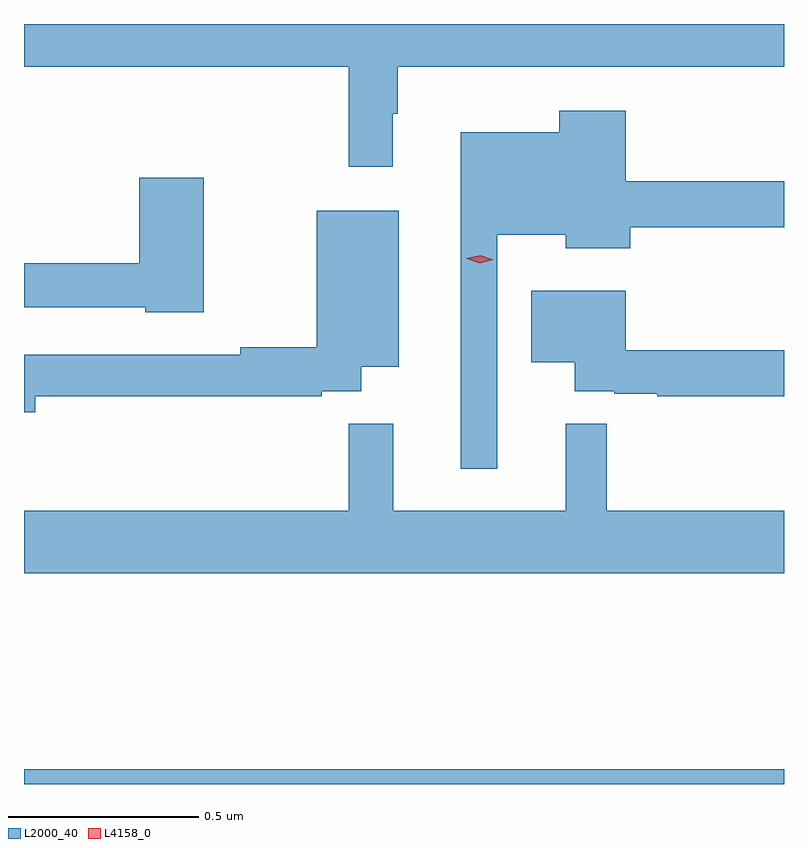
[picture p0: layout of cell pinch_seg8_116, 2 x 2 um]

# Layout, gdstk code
import gdstk
lib = gdstk.Library(unit=1e-6, precision=1e-09)
def R(c, l, rs):  # rectangles x0, y0, x1, y1
    for r in rs: c.add(gdstk.rectangle(r[:2], r[2:], *l))
def P(c, l, *ps):  # polygons
    for p in ps: c.add(gdstk.Polygon(p, *l))
L2000_40 = (2000, 40)
L4158_0 = (4158, 0)

pinch_seg8_116 = lib.new_cell('pinch_seg8_116')
R(pinch_seg8_116, L2000_40, [(1053.917,1090.637,1055.917,1090.676)])
P(pinch_seg8_116, L2000_40, [(1054.888,1092.401),(1054.9,1092.401),(1054.9,1092.524),(1055.917,1092.524),(1055.917,1092.637),(1053.917,1092.637),(1053.917,1092.524),(1054.771,1092.524),(1054.771,1092.261),(1054.888,1092.261)],
  [(1055.163,1092.083),(1055.342,1092.083),(1055.342,1092.047),(1055.513,1092.047),(1055.513,1092.102),(1055.917,1092.102),(1055.917,1092.223),(1055.5,1092.223),(1055.5,1092.409),(1055.325,1092.409),(1055.325,1092.352),(1055.066,1092.352),(1055.066,1091.466),(1055.163,1091.466)],
  [(1054.39,1092.232),(1054.22,1092.232),(1054.22,1092.008),(1053.917,1092.008),(1053.917,1091.892),(1054.236,1091.892),(1054.236,1091.879),(1054.39,1091.879)],
  [(1053.946,1091.658),(1054.7,1091.658),(1054.7,1091.67),(1054.804,1091.67),(1054.804,1091.735),(1054.903,1091.735),(1054.903,1092.145),(1054.688,1092.145),(1054.688,1091.786),(1054.486,1091.786),(1054.486,1091.766),(1053.917,1091.766),(1053.917,1091.615),(1053.946,1091.615)],
  [(1055.917,1091.779),(1055.501,1091.779),(1055.501,1091.935),(1055.252,1091.935),(1055.252,1091.747),(1055.366,1091.747),(1055.366,1091.67),(1055.47,1091.67),(1055.47,1091.664),(1055.584,1091.664),(1055.584,1091.658),(1055.917,1091.658)],
  [(1055.917,1091.356),(1055.45,1091.356),(1055.45,1091.585),(1055.342,1091.585),(1055.342,1091.356),(1054.889,1091.356),(1054.889,1091.585),(1054.771,1091.585),(1054.771,1091.356),(1053.917,1091.356),(1053.917,1091.192),(1055.917,1091.192)])
P(pinch_seg8_116, L4158_0, [(1055.116,1092.008),(1055.082,1092.019),(1055.081,1092.02),(1055.082,1092.02),(1055.117,1092.028),(1055.152,1092.017),(1055.153,1092.017),(1055.152,1092.016)])

lib.write_gds('pinch_seg8_116.gds')
